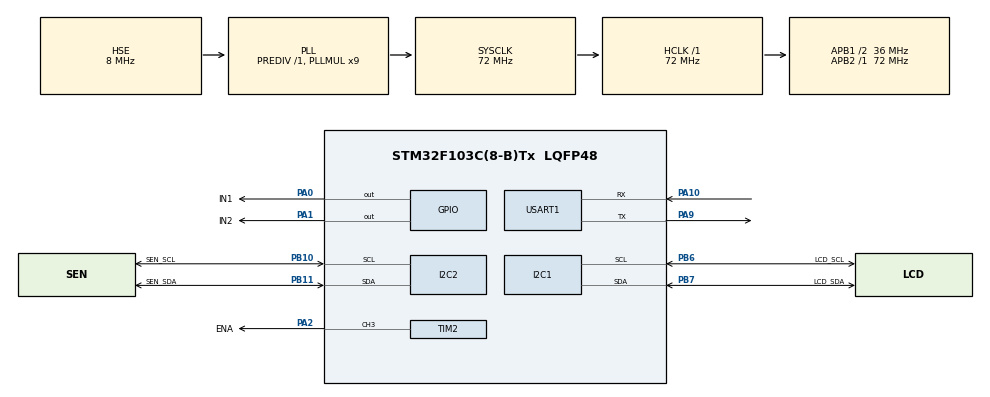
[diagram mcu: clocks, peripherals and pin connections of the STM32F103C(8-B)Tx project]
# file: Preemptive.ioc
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FREERTOS.Events01=ISR_RxUART,Dynamic,NULL
FREERTOS.Mutexes01=SensorDataMutex,Dynamic,NULL,Depleted;DisplayModeMutex,Dynamic,NULL,Depleted;UART_AccessMutex,Dynamic,NULL,Depleted;SpeedValueMutex,Dynamic,NULL,Depleted;DirectionMutex,Dynamic,NULL,Depleted;MotorModeMutex,Dynamic,NULL,Depleted
FREERTOS.Queues01=CommandQueue,5,Command_t,0,Dynamic,NULL,NULL
FREERTOS.Tasks01=Task1,48,256,UART_CommandHandlerTask,Default,NULL,Dynamic,NULL,NULL;Task2,40,128,MotorControlTask,Default,NULL,Dynamic,NULL,NULL;Task3,32,256,SensorReadTask,Default,NULL,Dynamic,NULL,NULL;Task4,24,256,LCD_DisplayTask,Default,NULL,Dynamic,NULL,NULL;Task5,24,256,UART_ReportSendTask,Default,NULL,Dynamic,NULL,NULL;TaskISR,41,256,UART_ParseCommandTask,Default,NULL,Dynamic,NULL,NULL
FREERTOS.configTOTAL_HEAP_SIZE=8192
FREERTOS.configUSE_NEWLIB_REENTRANT=1
I2C2.I2C_Mode=I2C_Fast
Mcu.Family=STM32F1
Mcu.Name=STM32F103C(8-B)Tx
Mcu.Package=LQFP48
NVIC.PriorityGroup=NVIC_PRIORITYGROUP_4
NVIC.TIM1_UP_IRQn=true\:15\:0\:false\:false\:true\:false\:false\:true\:true
NVIC.TimeBase=TIM1_UP_IRQn
NVIC.TimeBaseIP=TIM1
NVIC.USART1_IRQn=true\:5\:0\:false\:false\:true\:true\:true\:true\:true
PA0-WKUP.GPIO_Label=IN1
PA0-WKUP.Signal=GPIO_Output
PA1.GPIO_Label=IN2
PA1.Signal=GPIO_Output
PA10.Mode=Asynchronous
PA10.Signal=USART1_RX
PA13.Mode=Serial_Wire
PA13.Signal=SYS_JTMS-SWDIO
PA14.Mode=Serial_Wire
PA14.Signal=SYS_JTCK-SWCLK
PA2.GPIO_Label=ENA
PA2.Signal=S_TIM2_CH3
PA9.Mode=Asynchronous
PA9.Signal=USART1_TX
PB10.GPIO_Label=SEN_SCL
PB10.Mode=I2C
PB10.Signal=I2C2_SCL
PB11.GPIO_Label=SEN_SDA
PB11.Mode=I2C
PB11.Signal=I2C2_SDA
PB6.GPIO_Label=LCD_SCL
PB6.Mode=I2C
PB6.Signal=I2C1_SCL
PB7.GPIO_Label=LCD_SDA
PB7.Mode=I2C
PB7.Signal=I2C1_SDA
PD0-OSC_IN.Mode=HSE-External-Oscillator
PD0-OSC_IN.Signal=RCC_OSC_IN
PD1-OSC_OUT.Mode=HSE-External-Oscillator
PD1-OSC_OUT.Signal=RCC_OSC_OUT
ProjectManager.HeapSize=0x200
ProjectManager.StackSize=0x400
ProjectManager.TargetToolchain=STM32CubeIDE
RCC.AHBFreq_Value=72000000
RCC.APB1CLKDivider=RCC_HCLK_DIV2
RCC.APB1Freq_Value=36000000
RCC.APB1TimFreq_Value=72000000
RCC.APB2Freq_Value=72000000
RCC.APB2TimFreq_Value=72000000
RCC.HCLKFreq_Value=72000000
RCC.PLLMUL=RCC_PLL_MUL9
RCC.PLLSourceVirtual=RCC_PLLSOURCE_HSE
RCC.SYSCLKFreq_VALUE=72000000
RCC.SYSCLKSource=RCC_SYSCLKSOURCE_PLLCLK
RCC.USBFreq_Value=72000000
SH.S_TIM2_CH3.0=TIM2_CH3,PWM Generation3 CH3
TIM2.Channel-PWM\ Generation3\ CH3=TIM_CHANNEL_3
TIM2.Period=100
TIM2.Prescaler=72-1
USART1.VirtualMode=VM_ASYNC
VP_FREERTOS_VS_CMSIS_V2.Mode=CMSIS_V2
VP_SYS_VS_tim1.Mode=TIM1
VP_TIM2_VS_ClockSourceINT.Mode=Internal
board=custom

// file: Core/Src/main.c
/* USER CODE BEGIN Header */
/**
  ******************************************************************************
  * @file           : main.c
  * @brief          : Main program body
  ******************************************************************************
  * @attention
  *
  * Copyright (c) 2025 STMicroelectronics.
  * All rights reserved.
  *
  * This software is licensed under terms that can be found in the LICENSE file
  * in the root directory of this software component.
  * If no LICENSE file comes with this software, it is provided AS-IS.
  *
  ******************************************************************************
  */
/* USER CODE END Header */
#include "main.h"
#include "cmsis_os.h"

/* USER CODE BEGIN Includes */
#include "i2c_lcd.h"
#include "aht10.h"
#include <stdio.h>
#include <string.h>
/* USER CODE END Includes */

/* USER CODE BEGIN PD */
#ifdef __GNUC__
	#define Putchar_Prototype int __io_putchar(int ch)
#else
	#define Putchar_Prototype int fputc(int ch, FILE *f)
#endif
/* USER CODE END PD */

I2C_HandleTypeDef hi2c1;
I2C_HandleTypeDef hi2c2;

TIM_HandleTypeDef htim2;

UART_HandleTypeDef huart1;

/* Definitions for Task1 */
osThreadId_t Task1Handle;
const osThreadAttr_t Task1_attributes = {
  .name = "Task1",
  .stack_size = 256 * 4,
  .priority = (osPriority_t) osPriorityRealtime,
};
/* Definitions for Task2 */
osThreadId_t Task2Handle;
const osThreadAttr_t Task2_attributes = {
  .name = "Task2",
  .stack_size = 128 * 4,
  .priority = (osPriority_t) osPriorityHigh,
};
/* Definitions for Task3 */
osThreadId_t Task3Handle;
const osThreadAttr_t Task3_attributes = {
  .name = "Task3",
  .stack_size = 256 * 4,
  .priority = (osPriority_t) osPriorityAboveNormal,
};
/* Definitions for Task4 */
osThreadId_t Task4Handle;
const osThreadAttr_t Task4_attributes = {
  .name = "Task4",
  .stack_size = 256 * 4,
  .priority = (osPriority_t) osPriorityNormal,
};
/* Definitions for Task5 */
osThreadId_t Task5Handle;
const osThreadAttr_t Task5_attributes = {
  .name = "Task5",
  .stack_size = 256 * 4,
  .priority = (osPriority_t) osPriorityNormal,
};
/* Definitions for TaskISR */
osThreadId_t TaskISRHandle;
const osThreadAttr_t TaskISR_attributes = {
  .name = "TaskISR",
  .stack_size = 256 * 4,
  .priority = (osPriority_t) osPriorityHigh1,
};
/* Definitions for CommandQueue */
osMessageQueueId_t CommandQueueHandle;
const osMessageQueueAttr_t CommandQueue_attributes = {
  .name = "CommandQueue"
};
/* Definitions for SensorDataMutex */
osMutexId_t SensorDataMutexHandle;
const osMutexAttr_t SensorDataMutex_attributes = {
  .name = "SensorDataMutex"
};
/* Definitions for DisplayModeMutex */
osMutexId_t DisplayModeMutexHandle;
const osMutexAttr_t DisplayModeMutex_attributes = {
  .name = "DisplayModeMutex"
};
/* Definitions for UART_AccessMutex */
osMutexId_t UART_AccessMutexHandle;
const osMutexAttr_t UART_AccessMutex_attributes = {
  .name = "UART_AccessMutex"
};
/* Definitions for SpeedValueMutex */
osMutexId_t SpeedValueMutexHandle;
const osMutexAttr_t SpeedValueMutex_attributes = {
  .name = "SpeedValueMutex"
};
/* Definitions for DirectionMutex */
osMutexId_t DirectionMutexHandle;
const osMutexAttr_t DirectionMutex_attributes = {
  .name = "DirectionMutex"
};
/* Definitions for MotorModeMutex */
osMutexId_t MotorModeMutexHandle;
const osMutexAttr_t MotorModeMutex_attributes = {
  .name = "MotorModeMutex"
};
/* Definitions for ISR_RxUART */
osEventFlagsId_t ISR_RxUARTHandle;
const osEventFlagsAttr_t ISR_RxUART_attributes = {
  .name = "ISR_RxUART"
};
/* USER CODE BEGIN PV */
AHT10_HandleTypeDef aht10;
I2C_LCD_HandleTypeDef lcd;

char RxByte;
uint8_t RxIndex = 0;
char RxBuffer[RX_BUFFER_SIZE];

uint32_t periodTask2 = 100;
uint32_t periodTask3 = 2000;
uint32_t periodTask4 = 500;
uint32_t periodTask5 = 2000;

CommandParameter_t Mode = OFF;
uint8_t SpeedValue = 0;
CommandParameter_t Direction = CW;
SensorData_t SensorData;
CommandParameter_t currentModeLCD = ALL;

/* USER CODE END PV */

void SystemClock_Config(void);
static void MX_GPIO_Init(void);
static void MX_USART1_UART_Init(void);
static void MX_I2C1_Init(void);
static void MX_I2C2_Init(void);
static void MX_TIM2_Init(void);
void UART_CommandHandlerTask(void *argument);
void MotorControlTask(void *argument);
void SensorReadTask(void *argument);
void LCD_DisplayTask(void *argument);
void UART_ReportSendTask(void *argument);
void UART_ParseCommandTask(void *argument);

/* USER CODE BEGIN 0 */
Putchar_Prototype
{
	HAL_UART_Transmit(&huart1, (uint8_t *)&ch, 1, 10);
	return ch;
}

void HAL_UART_RxCpltCallback(UART_HandleTypeDef *huart)
{
	UNUSED(huart);
	if(huart->Instance == USART1)
	{
		if(RxByte != 13) {
			if(RxIndex < RX_BUFFER_SIZE - 1) {
				RxBuffer[RxIndex++] = RxByte;
			} else {
				memset(&RxBuffer, 0, RX_BUFFER_SIZE);
				RxIndex = 0;
			}

		} else {
			RxBuffer[RxIndex] = '\0';
			RxIndex = 0;

			osEventFlagsSet(ISR_RxUARTHandle, FlagISR);
		}
		// Gọi lại HAL_UART_Receive_IT để tiếp tục nhận byte tiếp theo
		HAL_UART_Receive_IT(&huart1, (uint8_t *)&RxByte, 1);
	}
}

void MOTOR_SetSpeed(uint8_t speed)
{
	if(speed > 100) {
		speed = 100;
	}

	__HAL_TIM_SET_COMPARE(&htim2, TIM_CHANNEL_3, speed);
}

void MOTOR_SetDirection(CommandParameter_t rotate)
{
	if(rotate == CW) {
		HAL_GPIO_WritePin(IN1_GPIO_Port, IN1_Pin, GPIO_PIN_SET);
		HAL_GPIO_WritePin(IN2_GPIO_Port, IN2_Pin, GPIO_PIN_RESET);
	}
	else if(rotate == CCW) {
		HAL_GPIO_WritePin(IN1_GPIO_Port, IN1_Pin, GPIO_PIN_RESET);
		HAL_GPIO_WritePin(IN2_GPIO_Port, IN2_Pin, GPIO_PIN_SET);
	}
}

void MOTOR_Stop(void)
{
	MOTOR_SetSpeed(0);
	HAL_GPIO_WritePin(IN1_GPIO_Port, IN1_Pin, GPIO_PIN_RESET);
	HAL_GPIO_WritePin(IN2_GPIO_Port, IN2_Pin, GPIO_PIN_RESET);
}
/* USER CODE END 0 */

int main(void)
{

  /* MCU Configuration--------------------------------------------------------*/

  /* Reset of all peripherals, Initializes the Flash interface and the Systick. */
  HAL_Init();

  /* Configure the system clock */
  SystemClock_Config();

  /* Initialize all configured peripherals */
  MX_GPIO_Init();
  MX_USART1_UART_Init();
  MX_I2C1_Init();
  MX_I2C2_Init();
  MX_TIM2_Init();
  /* USER CODE BEGIN 2 */
  // Khởi tạo AHT10
  aht10.hi2c = &hi2c2;
  aht10.address = 0x38<<1;
  AHT10_Init(&aht10);
  HAL_Delay(50);

  // Khởi tạo LCD
  lcd.hi2c = &hi2c1;
  lcd.address = 0x4E;
  lcd_init(&lcd);
  lcd_clear(&lcd);
  // Khởi tạo TIM PWN
  HAL_TIM_PWM_Start(&htim2, TIM_CHANNEL_3);
  // Bắt đầu nhận dữ liệu ngắt UART
  HAL_UART_Receive_IT(&huart1, (uint8_t *)&RxByte, 1);
  /* USER CODE END 2 */

  /* Init scheduler */
  osKernelInitialize();
  /* Create the mutex(es) */
  /* creation of SensorDataMutex */
  SensorDataMutexHandle = osMutexNew(&SensorDataMutex_attributes);

  /* creation of DisplayModeMutex */
  DisplayModeMutexHandle = osMutexNew(&DisplayModeMutex_attributes);

  /* creation of UART_AccessMutex */
  UART_AccessMutexHandle = osMutexNew(&UART_AccessMutex_attributes);

  /* creation of SpeedValueMutex */
  SpeedValueMutexHandle = osMutexNew(&SpeedValueMutex_attributes);

  /* creation of DirectionMutex */
  DirectionMutexHandle = osMutexNew(&DirectionMutex_attributes);

  /* creation of MotorModeMutex */
  MotorModeMutexHandle = osMutexNew(&MotorModeMutex_attributes);

  /* Create the queue(s) */
  /* creation of CommandQueue */
  CommandQueueHandle = osMessageQueueNew (5, sizeof(Command_t), &CommandQueue_attributes);

  /* Create the thread(s) */
  /* creation of Task1 */
  Task1Handle = osThreadNew(UART_CommandHandlerTask, NULL, &Task1_attributes);

  /* creation of Task2 */
  Task2Handle = osThreadNew(MotorControlTask, NULL, &Task2_attributes);

  /* creation of Task3 */
  Task3Handle = osThreadNew(SensorReadTask, NULL, &Task3_attributes);

  /* creation of Task4 */
  Task4Handle = osThreadNew(LCD_DisplayTask, NULL, &Task4_attributes);

  /* creation of Task5 */
  Task5Handle = osThreadNew(UART_ReportSendTask, NULL, &Task5_attributes);

  /* creation of TaskISR */
  TaskISRHandle = osThreadNew(UART_ParseCommandTask, NULL, &TaskISR_attributes);

  /* creation of ISR_RxUART */
  ISR_RxUARTHandle = osEventFlagsNew(&ISR_RxUART_attributes);

  /* Start scheduler */
  osKernelStart();

  /* We should never get here as control is now taken by the scheduler */

  /* Infinite loop */
  while (1)
  {

  }
}

void SystemClock_Config(void)
{
  RCC_OscInitTypeDef RCC_OscInitStruct = {0};
  RCC_ClkInitTypeDef RCC_ClkInitStruct = {0};

  /** Initializes the RCC Oscillators according to the specified parameters
  * in the RCC_OscInitTypeDef structure.
  */
  RCC_OscInitStruct.OscillatorType = RCC_OSCILLATORTYPE_HSE;
  RCC_OscInitStruct.HSEState = RCC_HSE_ON;
  RCC_OscInitStruct.HSEPredivValue = RCC_HSE_PREDIV_DIV1;
  RCC_OscInitStruct.HSIState = RCC_HSI_ON;
  RCC_OscInitStruct.PLL.PLLState = RCC_PLL_ON;
  RCC_OscInitStruct.PLL.PLLSource = RCC_PLLSOURCE_HSE;
  RCC_OscInitStruct.PLL.PLLMUL = RCC_PLL_MUL9;
  if (HAL_RCC_OscConfig(&RCC_OscInitStruct) != HAL_OK)
  {
    Error_Handler();
  }

  /** Initializes the CPU, AHB and APB buses clocks
  */
  RCC_ClkInitStruct.ClockType = RCC_CLOCKTYPE_HCLK|RCC_CLOCKTYPE_SYSCLK
                              |RCC_CLOCKTYPE_PCLK1|RCC_CLOCKTYPE_PCLK2;
  RCC_ClkInitStruct.SYSCLKSource = RCC_SYSCLKSOURCE_PLLCLK;
  RCC_ClkInitStruct.AHBCLKDivider = RCC_SYSCLK_DIV1;
  RCC_ClkInitStruct.APB1CLKDivider = RCC_HCLK_DIV2;
  RCC_ClkInitStruct.APB2CLKDivider = RCC_HCLK_DIV1;

  if (HAL_RCC_ClockConfig(&RCC_ClkInitStruct, FLASH_LATENCY_2) != HAL_OK)
  {
    Error_Handler();
  }
}

static void MX_I2C1_Init(void)
{

  hi2c1.Instance = I2C1;
  hi2c1.Init.ClockSpeed = 100000;
  hi2c1.Init.DutyCycle = I2C_DUTYCYCLE_2;
  hi2c1.Init.OwnAddress1 = 0;
  hi2c1.Init.AddressingMode = I2C_ADDRESSINGMODE_7BIT;
  hi2c1.Init.DualAddressMode = I2C_DUALADDRESS_DISABLE;
  hi2c1.Init.OwnAddress2 = 0;
  hi2c1.Init.GeneralCallMode = I2C_GENERALCALL_DISABLE;
  hi2c1.Init.NoStretchMode = I2C_NOSTRETCH_DISABLE;
  if (HAL_I2C_Init(&hi2c1) != HAL_OK)
  {
    Error_Handler();
  }

}

static void MX_I2C2_Init(void)
{

  hi2c2.Instance = I2C2;
  hi2c2.Init.ClockSpeed = 400000;
  hi2c2.Init.DutyCycle = I2C_DUTYCYCLE_2;
  hi2c2.Init.OwnAddress1 = 0;
  hi2c2.Init.AddressingMode = I2C_ADDRESSINGMODE_7BIT;
  hi2c2.Init.DualAddressMode = I2C_DUALADDRESS_DISABLE;
  hi2c2.Init.OwnAddress2 = 0;
  hi2c2.Init.GeneralCallMode = I2C_GENERALCALL_DISABLE;
  hi2c2.Init.NoStretchMode = I2C_NOSTRETCH_DISABLE;
  if (HAL_I2C_Init(&hi2c2) != HAL_OK)
  {
    Error_Handler();
  }

}

static void MX_TIM2_Init(void)
{

  TIM_ClockConfigTypeDef sClockSourceConfig = {0};
  TIM_MasterConfigTypeDef sMasterConfig = {0};
  TIM_OC_InitTypeDef sConfigOC = {0};

  htim2.Instance = TIM2;
  htim2.Init.Prescaler = 72-1;
  htim2.Init.CounterMode = TIM_COUNTERMODE_UP;
  htim2.Init.Period = 100;
  htim2.Init.ClockDivision = TIM_CLOCKDIVISION_DIV1;
  htim2.Init.AutoReloadPreload = TIM_AUTORELOAD_PRELOAD_DISABLE;
  if (HAL_TIM_Base_Init(&htim2) != HAL_OK)
  {
    Error_Handler();
  }
  sClockSourceConfig.ClockSource = TIM_CLOCKSOURCE_INTERNAL;
  if (HAL_TIM_ConfigClockSource(&htim2, &sClockSourceConfig) != HAL_OK)
  {
    Error_Handler();
  }
  if (HAL_TIM_PWM_Init(&htim2) != HAL_OK)
  {
    Error_Handler();
  }
  sMasterConfig.MasterOutputTrigger = TIM_TRGO_RESET;
  sMasterConfig.MasterSlaveMode = TIM_MASTERSLAVEMODE_DISABLE;
  if (HAL_TIMEx_MasterConfigSynchronization(&htim2, &sMasterConfig) != HAL_OK)
  {
    Error_Handler();
  }
  sConfigOC.OCMode = TIM_OCMODE_PWM1;
  sConfigOC.Pulse = 0;
  sConfigOC.OCPolarity = TIM_OCPOLARITY_HIGH;
  sConfigOC.OCFastMode = TIM_OCFAST_DISABLE;
  if (HAL_TIM_PWM_ConfigChannel(&htim2, &sConfigOC, TIM_CHANNEL_3) != HAL_OK)
  {
    Error_Handler();
  }
  HAL_TIM_MspPostInit(&htim2);

}

static void MX_USART1_UART_Init(void)
{

  huart1.Instance = USART1;
  huart1.Init.BaudRate = 115200;
  huart1.Init.WordLength = UART_WORDLENGTH_8B;
  huart1.Init.StopBits = UART_STOPBITS_1;
  huart1.Init.Parity = UART_PARITY_NONE;
  huart1.Init.Mode = UART_MODE_TX_RX;
  huart1.Init.HwFlowCtl = UART_HWCONTROL_NONE;
  huart1.Init.OverSampling = UART_OVERSAMPLING_16;
  if (HAL_UART_Init(&huart1) != HAL_OK)
  {
    Error_Handler();
  }

}

static void MX_GPIO_Init(void)
{
  GPIO_InitTypeDef GPIO_InitStruct = {0};

  /* GPIO Ports Clock Enable */
  __HAL_RCC_GPIOD_CLK_ENABLE();
  __HAL_RCC_GPIOA_CLK_ENABLE();
  __HAL_RCC_GPIOB_CLK_ENABLE();

  /*Configure GPIO pin Output Level */
  HAL_GPIO_WritePin(GPIOA, IN1_Pin|IN2_Pin, GPIO_PIN_RESET);

  /*Configure GPIO pins : IN1_Pin IN2_Pin */
  GPIO_InitStruct.Pin = IN1_Pin|IN2_Pin;
  GPIO_InitStruct.Mode = GPIO_MODE_OUTPUT_PP;
  GPIO_InitStruct.Pull = GPIO_NOPULL;
  GPIO_InitStruct.Speed = GPIO_SPEED_FREQ_LOW;
  HAL_GPIO_Init(GPIOA, &GPIO_InitStruct);

}

void UART_CommandHandlerTask(void *argument)
{
  /* USER CODE BEGIN 5 */
  Command_t command;
  osStatus_t status;
  /* Infinite loop */
  for(;;)
  {
	  // Chờ nhận một lệnh từ Queue
	  // osMessageQueueGet là hàm CMSIS_V2 tương đương với xQueueReceive
	  // osWaitForever: Task sẽ block vô thời hạn cho đến khi có lệnh trong Queue
	  status = osMessageQueueGet(CommandQueueHandle, &command, NULL, osWaitForever);
	  if(status == osOK)
	  {
		  switch(command.cmd)
		  {
		  case MOTOR:
			  switch(command.param) {
			  case ON:
				  status = osMutexAcquire(MotorModeMutexHandle, osWaitForever);
				  if(status == osOK) {
					  Mode = ON;
					  osMutexRelease(MotorModeMutexHandle);
				  }
				  break;
			  case OFF:
				  status = osMutexAcquire(MotorModeMutexHandle, osWaitForever);
				  if(status == osOK) {
					  Mode = OFF;
					  osMutexRelease(MotorModeMutexHandle);
				  }
				  break;
			  default:
				  break;
			  }
			  break;
		  case ROTATE:
			  switch(command.param) {
			  case CW:
				  status = osMutexAcquire(DirectionMutexHandle, osWaitForever);
				  if(status == osOK) {
					  Direction = CW;
					  osMutexRelease(DirectionMutexHandle);
				  }
				  break;
			  case CCW:
				  status = osMutexAcquire(DirectionMutexHandle, osWaitForever);
				  if(status == osOK) {
					  Direction = CCW;
					  osMutexRelease(DirectionMutexHandle);
				  }
				  break;
			  default:
				  break;
			  }
			  break;
		  case SPEED:
			  status = osMutexAcquire(SpeedValueMutexHandle, osWaitForever);
			  if(status == osOK) {
				  SpeedValue = command.param;
				  osMutexRelease(SpeedValueMutexHandle);
			  }
			  break;
		  case DISPLAY:
			  switch(command.param) {
			  case ALL:
				  status = osMutexAcquire(DisplayModeMutexHandle, osWaitForever);
				  if(status == osOK) {
					  currentModeLCD = ALL;
					  osMutexRelease(DisplayModeMutexHandle);
				  }
				  break;
			  case TEMP:
				  status = osMutexAcquire(DisplayModeMutexHandle, osWaitForever);
				  if(status == osOK) {
					  currentModeLCD = TEMP;
					  osMutexRelease(DisplayModeMutexHandle);
				  }
				  break;
			  case HUMID:
				  status = osMutexAcquire(DisplayModeMutexHandle, osWaitForever);
				  if(status == osOK) {
					  currentModeLCD = HUMID;
					  osMutexRelease(DisplayModeMutexHandle);
				  }
				  break;
			  default:
				  break;
			  }
			  break;
		  case PTASK2:
			  periodTask2 = command.param;
			  break;
		  case PTASK3:
			  periodTask3 = command.param;
			  break;
		  case PTASK4:
			  periodTask4 = command.param;
			  break;
		  case PTASK5:
			  periodTask5 = command.param;
			  break;
		  case CMD_INVALID:
			  break;
		  default:
			  break;
		  }
	  }
  }
  /* USER CODE END 5 */
}

void MotorControlTask(void *argument)
{
  /* USER CODE BEGIN MotorControlTask */
  osStatus_t status;
  CommandParameter_t localMode;
  uint8_t localSpeed;
  CommandParameter_t localDirection;

  TickType_t xLastWakeTime = osKernelGetTickCount();
  /* Infinite loop */
  for(;;)
  {
	  status = osMutexAcquire(MotorModeMutexHandle, osWaitForever);
	  if(status == osOK) {
		  localMode = Mode;
		  osMutexRelease(MotorModeMutexHandle);
	  }
	  status = osMutexAcquire(DirectionMutexHandle, osWaitForever);
	  if(status == osOK) {
		  localDirection = Direction;
		  osMutexRelease(DirectionMutexHandle);
	  }
	  status = osMutexAcquire(SpeedValueMutexHandle, osWaitForever);
	  if(status == osOK) {
		  localSpeed = SpeedValue;
		  osMutexRelease(SpeedValueMutexHandle);
	  }

	  if(localMode == ON) {
		  MOTOR_SetDirection(localDirection);
		  MOTOR_SetSpeed(localSpeed);
	  }
	  else if(localMode == OFF) {
		  MOTOR_Stop();
	  }

	  osDelayUntil(xLastWakeTime + pdMS_TO_TICKS(periodTask2));
	  xLastWakeTime = osKernelGetTickCount();
  }
  /* USER CODE END MotorControlTask */
}

void SensorReadTask(void *argument)
{
  /* USER CODE BEGIN SensorReadTask */
  uint32_t temperature_raw, humidity_raw;
  float temperature, humidity;
  osStatus_t status;

  TickType_t xLastWakeTime = osKernelGetTickCount();
  /* Infinite loop */
  for(;;)
  {
	  if(AHT10_ReadRaw(&aht10, &humidity_raw, &temperature_raw))
	  {
          // Chuyển đổi dữ liệu thô sang giá trị thực
		  temperature = AHT10_ReadTemperature(temperature_raw);
		  humidity = AHT10_ReadHumidity(humidity_raw);

		  status = osMutexAcquire(SensorDataMutexHandle, osWaitForever);
		  if(status == osOK) {
			  SensorData.temp = temperature;
			  SensorData.humid = humidity;
			  osMutexRelease(SensorDataMutexHandle);
		  } else {
			  // Debug
		  }
	  } else {
		  // Debug
	  }

	  osDelayUntil(xLastWakeTime + pdMS_TO_TICKS(periodTask3));
	  xLastWakeTime = osKernelGetTickCount();
  }
  /* USER CODE END SensorReadTask */
}

void LCD_DisplayTask(void *argument)
{
  /* USER CODE BEGIN LCD_DisplayTask */
  SensorData_t localData;
  CommandParameter_t localMode;
  char line1[17];
  char line2[17];
  osStatus_t status;

  TickType_t xLastWakeTime = osKernelGetTickCount();
  /* Infinite loop */
  for(;;)
  {
	  status = osMutexAcquire(DisplayModeMutexHandle, osWaitForever);
	  if(status == osOK) {
		  localMode = currentModeLCD;
		  osMutexRelease(DisplayModeMutexHandle);
	  } else {
		  // Debug
	  }

	  status = osMutexAcquire(SensorDataMutexHandle, osWaitForever);
	  if(status == osOK) {
		  localData = SensorData;
		  osMutexRelease(SensorDataMutexHandle);
	  } else {
		  // Debug
	  }

	  switch(localMode)
	  {
	  case ALL:
		  lcd_gotoxy(&lcd, 0, 0);
		  snprintf(line1, sizeof(line1), "Temp: %.2f C   ", localData.temp);
		  lcd_puts(&lcd, line1);

		  lcd_gotoxy(&lcd, 0, 1);
		  snprintf(line2, sizeof(line2), "Humid: %.2f %%  ", localData.humid);
		  lcd_puts(&lcd, line2);

		  break;
	  case TEMP:
		  lcd_gotoxy(&lcd, 0, 0);
		  snprintf(line1, sizeof(line1), "Temp: %.2f C   ", localData.temp);
		  lcd_puts(&lcd, line1);

		  lcd_gotoxy(&lcd, 0, 1);
		  lcd_puts(&lcd, "                ");

		  break;
	  case HUMID:
		  lcd_gotoxy(&lcd, 0, 0);
		  snprintf(line1, sizeof(line1), "Humid: %.2f %%  ", localData.humid);
		  lcd_puts(&lcd, line1);

		  lcd_gotoxy(&lcd, 0, 1);
		  lcd_puts(&lcd, "                ");

		  break;
	  default:
		  break;
	  }

	  osDelayUntil(xLastWakeTime + pdMS_TO_TICKS(periodTask4));
	  xLastWakeTime = osKernelGetTickCount();
  }
  /* USER CODE END LCD_DisplayTask */
}

void UART_ReportSendTask(void *argument)
{
  /* USER CODE BEGIN UART_ReportSendTask */
  SensorData_t localData;
  osStatus_t status;

  TickType_t xLastWakeTime = osKernelGetTickCount();
  /* Infinite loop */
  for(;;)
  {
	  status = osMutexAcquire(SensorDataMutexHandle, osWaitForever);
	  if(status == osOK) {
		  localData = SensorData;
		  osMutexRelease(SensorDataMutexHandle);
	  } else {
		  // Debug
	  }

	  status = osMutexAcquire(UART_AccessMutexHandle, osWaitForever);
	  if(status == osOK) {
		  printf("Sensor Data: Temp = %.2f C, Humid = %.2f %%\r\n", localData.temp, localData.humid);
		  osMutexRelease(UART_AccessMutexHandle);
	  }

	  osDelayUntil(xLastWakeTime + pdMS_TO_TICKS(periodTask5));
	  xLastWakeTime = osKernelGetTickCount();
  }
  /* USER CODE END UART_ReportSendTask */
}

void UART_ParseCommandTask(void *argument)
{
  /* USER CODE BEGIN UART_ParseCommandTask */
  osStatus_t status;
  static char OriginCommand[RX_BUFFER_SIZE];
  /* Infinite loop */
  for(;;)
  {
	  osEventFlagsWait(ISR_RxUARTHandle, FlagISR, osFlagsWaitAny | osFlagsNoClear, osWaitForever);
	  osEventFlagsClear(ISR_RxUARTHandle, FlagISR);

	  strncpy(OriginCommand, RxBuffer, RX_BUFFER_SIZE - 1);
	  OriginCommand[RX_BUFFER_SIZE - 1] = '\0';

	  Command_t command;
	  command.cmd = CMD_INVALID;
	  command.param = PARAM_INVALID;

	  char *token;
	  char *save_ptr;

	  char *start_ptr = RxBuffer; // Con trỏ tới ký tự đầu đầu của chuỗi lệnh
	  while(*start_ptr == ' ' || *start_ptr == '\t') {
		  start_ptr++; // Bỏ qua ký tự này và kiểm tra tiếp
	  }
      char *end_ptr = start_ptr + strlen(start_ptr) - 1; // Con trỏ đến ký tự cuối cùng của chuỗi lệnh
      while (end_ptr > start_ptr && (*end_ptr == '\n' || *end_ptr == '\r' || *end_ptr == ' ' || *end_ptr == '\t')) {
          *end_ptr = '\0'; // Thay thế thành ký tự kết thúc chuỗi
          end_ptr--;       // Lùi con trỏ để kiểm tra tiếp
      }

      // Kiểm tra tiền tố '!"
      if (start_ptr[0] == '!') {
    	  start_ptr++; // Di chuyển con trỏ qua ký tự '!'

    	  // Tách từ dầu tiên
    	  token = strtok_r(start_ptr, " ", &save_ptr);
    	  if(token != NULL) {
    		  if(strcmp(token, "motor") == 0) {
    			  command.cmd = MOTOR;
    			  token = strtok_r(NULL, " ", &save_ptr);
    			  if (token != NULL) {
    				  if (strcmp(token, "on") == 0) command.param = ON;
    				  else if (strcmp(token, "off") == 0) command.param = OFF;
    			  }
    		  }
    		  else if(strcmp(token, "rotate") == 0) {
    			  command.cmd = ROTATE;
    			  token = strtok_r(NULL, " ", &save_ptr);
    			  if (token != NULL) {
    				  if (strcmp(token, "cw") == 0) command.param = CW;
    				  else if (strcmp(token, "ccw") == 0) command.param = CCW;
    			  }
    		  }
    		  else if (strcmp(token, "speed") == 0) {
    			  command.cmd = SPEED;
    			  token = strtok_r(NULL, " ", &save_ptr);
    			  if (token != NULL) {
    				  int speed_val;
    				  if (sscanf(token, "%d", &speed_val) == 1) {
    					  command.param = (uint32_t)speed_val;
    				  }
    			  }
    		  }
    		  else if (strcmp(token, "display") == 0) {
    			  command.cmd = DISPLAY;
    			  token = strtok_r(NULL, " ", &save_ptr);
    			  if (token != NULL) {
    				  if (strcmp(token, "all") == 0) command.param = ALL;
    				  else if (strcmp(token, "temp") == 0) command.param = TEMP;
    				  else if (strcmp(token, "humid") == 0) command.param = HUMID;
    			  }
    		  }
    		  else if (strcmp(token, "ptask2") == 0) {
    			  command.cmd = PTASK2;
    			  token = strtok_r(NULL, " ", &save_ptr);
    			  if (token != NULL) {
    				  int period;
    				  if (sscanf(token, "%d", &period) == 1) {
    					  command.param = (uint32_t)period;
    				  }
    			  }
    		  }
    		  else if (strcmp(token, "ptask3") == 0) {
    			  command.cmd = PTASK3;
    			  token = strtok_r(NULL, " ", &save_ptr);
    			  if (token != NULL) {
    				  int period;
    				  if (sscanf(token, "%d", &period) == 1) {
    					  command.param = (uint32_t)period;
    				  }
    			  }
    		  }
    		  else if (strcmp(token, "ptask4") == 0) {
    			  command.cmd = PTASK4;
    			  token = strtok_r(NULL, " ", &save_ptr);
    			  if (token != NULL) {
    				  int period;
    				  if (sscanf(token, "%d", &period) == 1) {
    					  command.param = (uint32_t)period;
    				  }
    			  }
    		  }
    		  else if (strcmp(token, "ptask5") == 0) {
    			  command.cmd = PTASK5;
    			  token = strtok_r(NULL, " ", &save_ptr);
    			  if (token != NULL) {
    				  int period;
    				  if (sscanf(token, "%d", &period) == 1) {
    					  command.param = (uint32_t)period;
    				  }
    			  }
    		  }
    	  }
      }

      status = osMessageQueuePut(CommandQueueHandle, &command, 0, osWaitForever);
      if(status == osOK) {
    	  status =  osMutexAcquire(UART_AccessMutexHandle, osWaitForever);
    	  if(status == osOK) {
    		  printf("Command sent successfully: %s\r\n", OriginCommand);
    		  osMutexRelease(UART_AccessMutexHandle);
    	  }
      }
  }
  /* USER CODE END UART_ParseCommandTask */
}

void HAL_TIM_PeriodElapsedCallback(TIM_HandleTypeDef *htim)
{
  if (htim->Instance == TIM1)
  {
    HAL_IncTick();
  }
}

void Error_Handler(void)
{
  __disable_irq();
  while (1)
  {
  }
}
